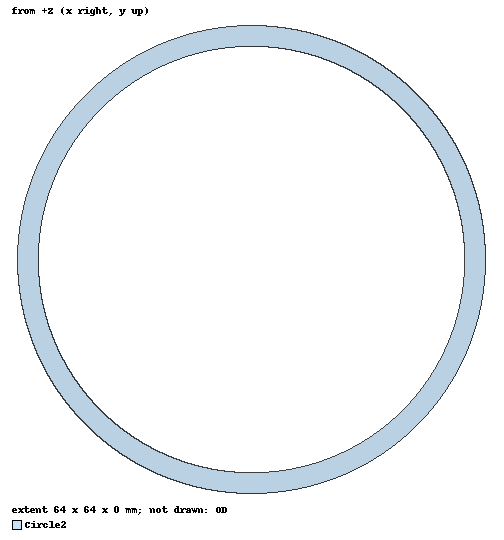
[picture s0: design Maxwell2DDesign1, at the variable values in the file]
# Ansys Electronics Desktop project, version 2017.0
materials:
  vacuum: permittivity=1

design Maxwell2DDesign1 (Maxwell 2D, Magnetostatic, XY geometry, model units mm)
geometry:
  OD [vacuum] = circle(normal=Z, centre=(0mm, 0mm, 0mm), radius=62mm)
  ID = circle(normal=Z, centre=(0mm, 0mm, 0mm), radius=32mm)
  OD.subtract(ID)
  Circle1 = circle(normal=Z, centre=(0mm, 0mm, 0mm), radius=29.154759mm)
  Circle2 [vacuum] = circle(normal=Z, centre=(0mm, 0mm, 0mm), radius=32mm)
  Circle2.subtract(Circle1)
  Circle2.move(0mm, 0mm, 0mm)
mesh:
  initial mesh: MeshMethod=AnsoftClassic
